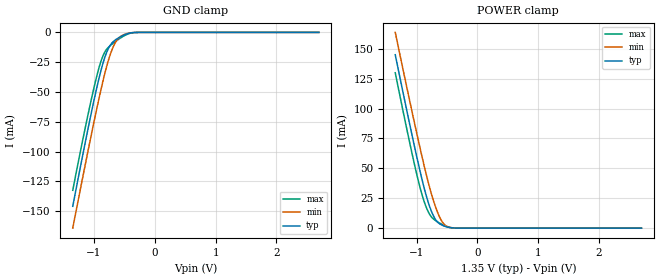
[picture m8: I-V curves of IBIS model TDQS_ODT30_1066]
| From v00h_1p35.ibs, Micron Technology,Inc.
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| MODEL TDQS_ODT30_1066 (TDQS Terminator Model with 30ohm ODT, 800/1066Mbps)
[Model]   TDQS_ODT30_1066
Model_type   Terminator
|   typ   min   max
|C_comp   1.003pF   0.903pF   1.127pF
C_comp_power_clamp   0.5015pF   0.4515pF   0.5635pF
C_comp_gnd_clamp   0.5015pF   0.4515pF   0.5635pF
| Note: C_comp changes when the ODT circuit is enabled.
[Voltage Range]   1.3500V   1.2830V   1.4250V
| Junction Temperature (Ambient temp is 35C typ, 95C min, 0C max)
[Temperature Range]   50.0   110.0   0.0
[Add Submodel]
| Submodel Name   Mode
30ohm_ODT_1066   Non-Driving
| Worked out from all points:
|   GND clamp passes 1 mA (typ) near -0.44 V on its own axis
|   POWER clamp passes 1 mA (typ) near -0.50 V on its own axis
[GND Clamp]
|   Voltage   I(typ)   I(min)   I(max)
-1.35V    -145.9mA   -164.2mA   -132.5mA
-1.21V    -109.2mA   -127.8mA   -96.32mA
-1.08V    -76.15mA   -94.69mA   -64.51mA
-980mV    -52.18mA   -70.05mA   -41.89mA
-900mV    -34.79mA   -51.26mA   -26.51mA
-820mV    -20.6mA    -33.99mA   -16.33mA
-730mV    -10.55mA   -18.13mA   -10.98mA
-655mV    -6.559mA   -9.106mA   -7.964mA
-575mV    -3.962mA   -3.912mA   -5.074mA
-470mV    -1.479mA   -1.183mA   -1.987mA
-330mV    -103.8uA   -97.16uA   -126.9uA
2.7V      0A         0A         0A
[POWER Clamp]
|   Voltage   I(typ)   I(min)   I(max)
-1.35V    145mA      163.7mA    129.9mA
-1.18V    103.2mA    122.5mA    87.67mA
-1.05V    72.12mA    91.74mA    56.89mA
-960mV    51.56mA    71.02mA    37.44mA
-880mV    34.65mA    53.32mA    23.07mA
-795mV    19.66mA    35.93mA    12.48mA
-710mV    9.111mA    21.19mA    7.162mA
-610mV    3.316mA    8.179mA    3.921mA
-525mV    1.394mA    2.274mA    1.814mA
-445mV    434.6uA    531.8uA    556.5uA
-280mV    9.752uA    16.13uA    7.687uA
2.7V      0A         0A         0A
